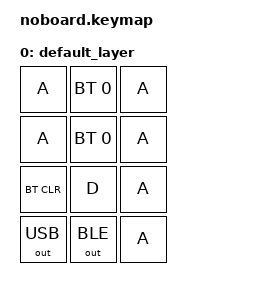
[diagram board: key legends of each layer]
// This file was generated from a template. Edit it to match your keyboard.
// See https://zmk.dev/docs/development/hardware-integration/new-shield for more instructions.

#include <behaviors.dtsi>
#include <dt-bindings/zmk/keys.h>
#include <dt-bindings/zmk/bt.h>
#include <dt-bindings/zmk/outputs.h>

/ {
    // Define a default keymap here.
    // See https://zmk.dev/docs/development/hardware-integration/new-shield#default-keymap.
    keymap {
        compatible = "zmk,keymap";

        default_layer {
            bindings = <
                // 0(18)      1(15)          2(14)
                &kp A         &bt BT_SEL 0   &kp A // 0(4)
                &kp A         &bt BT_SEL 0   &kp A // 1(5)
                &bt BT_CLR    &kp D          &kp A // 2(6)
                &out OUT_USB  &out OUT_BLE   &kp A // 3(7)
            >;
        };
    };
};
